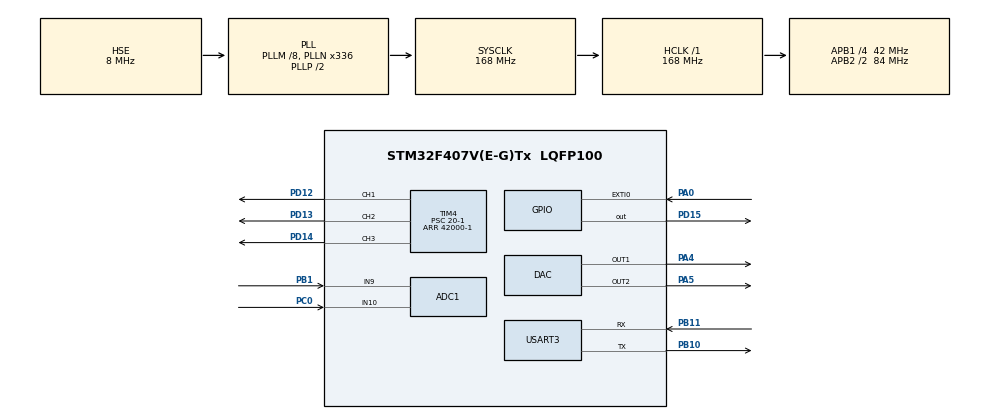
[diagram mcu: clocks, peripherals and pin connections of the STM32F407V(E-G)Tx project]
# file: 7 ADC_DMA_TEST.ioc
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ADC1.Channel-4\#ChannelRegularConversion=ADC_CHANNEL_9
ADC1.Channel-5\#ChannelRegularConversion=ADC_CHANNEL_10
ADC1.ContinuousConvMode=ENABLE
ADC1.DMAContinuousRequests=ENABLE
ADC1.NbrOfConversion=2
ADC1.NbrOfConversionFlag=1
ADC1.Rank-4\#ChannelRegularConversion=1
ADC1.Rank-5\#ChannelRegularConversion=2
ADC1.SamplingTime-4\#ChannelRegularConversion=ADC_SAMPLETIME_84CYCLES
ADC1.SamplingTime-5\#ChannelRegularConversion=ADC_SAMPLETIME_84CYCLES
ADC1.ScanConvMode=ENABLE
ADC1.master=1
Dma.ADC1.0.Direction=DMA_PERIPH_TO_MEMORY
Dma.ADC1.0.FIFOMode=DMA_FIFOMODE_DISABLE
Dma.ADC1.0.Instance=DMA2_Stream0
Dma.ADC1.0.MemDataAlignment=DMA_MDATAALIGN_HALFWORD
Dma.ADC1.0.MemInc=DMA_MINC_ENABLE
Dma.ADC1.0.Mode=DMA_CIRCULAR
Dma.ADC1.0.PeriphDataAlignment=DMA_PDATAALIGN_HALFWORD
Dma.ADC1.0.PeriphInc=DMA_PINC_DISABLE
Dma.ADC1.0.Priority=DMA_PRIORITY_LOW
Dma.Request0=ADC1
Mcu.Family=STM32F4
Mcu.Name=STM32F407V(E-G)Tx
Mcu.Package=LQFP100
NVIC.DMA2_Stream0_IRQn=true\:0\:0\:false\:false\:true\:false
NVIC.EXTI0_IRQn=true\:0\:0\:false\:true\:true\:3\:true
NVIC.PriorityGroup=NVIC_PRIORITYGROUP_4
NVIC.TIM7_IRQn=true\:0\:0\:false\:false\:true\:true
NVIC.USART3_IRQn=true\:0\:0\:false\:true\:true\:1\:true
PA0-WKUP.GPIO_ModeDefaultEXTI=GPIO_MODE_IT_RISING
PA0-WKUP.GPIO_PuPd=GPIO_NOPULL
PA0-WKUP.Signal=GPXTI0
PA4.Signal=COMP_DAC1_group
PA5.Signal=COMP_DAC2_group
PB1.Signal=ADCx_IN9
PB10.Mode=Asynchronous
PB10.Signal=USART3_TX
PB11.Mode=Asynchronous
PB11.Signal=USART3_RX
PC0.Signal=ADCx_IN10
PD12.Signal=S_TIM4_CH1
PD13.Signal=S_TIM4_CH2
PD14.Signal=S_TIM4_CH3
PD15.Signal=GPIO_Output
PH0-OSC_IN.Mode=HSE-External-Oscillator
PH0-OSC_IN.Signal=RCC_OSC_IN
PH1-OSC_OUT.Mode=HSE-External-Oscillator
PH1-OSC_OUT.Signal=RCC_OSC_OUT
ProjectManager.HeapSize=0x200
ProjectManager.StackSize=0x400
ProjectManager.TargetToolchain=TrueSTUDIO
RCC.48MHZClocksFreq_Value=84000000
RCC.AHBFreq_Value=168000000
RCC.APB1CLKDivider=RCC_HCLK_DIV4
RCC.APB1Freq_Value=42000000
RCC.APB1TimFreq_Value=84000000
RCC.APB2CLKDivider=RCC_HCLK_DIV2
RCC.APB2Freq_Value=84000000
RCC.APB2TimFreq_Value=168000000
RCC.CortexFreq_Value=168000000
RCC.HCLKFreq_Value=168000000
RCC.HSE_VALUE=8000000
RCC.HSI_VALUE=16000000
RCC.LSE_VALUE=32768
RCC.PLLM=8
RCC.PLLN=336
RCC.PLLSourceVirtual=RCC_PLLSOURCE_HSE
RCC.SYSCLKFreq_VALUE=168000000
RCC.SYSCLKSource=RCC_SYSCLKSOURCE_PLLCLK
RCC.VCOOutputFreq_Value=336000000
SH.ADCx_IN10.0=ADC1_IN10,IN10
SH.ADCx_IN9.0=ADC1_IN9,IN9
SH.COMP_DAC1_group.0=DAC_OUT1,DAC_OUT1
SH.COMP_DAC2_group.0=DAC_OUT2,DAC_OUT2
SH.S_TIM4_CH1.0=TIM4_CH1,PWM Generation1 CH1
SH.S_TIM4_CH2.0=TIM4_CH2,PWM Generation2 CH2
SH.S_TIM4_CH3.0=TIM4_CH3,PWM Generation3 CH3
TIM4.Channel-PWM\ Generation1\ CH1=TIM_CHANNEL_1
TIM4.Channel-PWM\ Generation2\ CH2=TIM_CHANNEL_2
TIM4.Channel-PWM\ Generation3\ CH3=TIM_CHANNEL_3
TIM4.Period=42000-1
TIM4.Prescaler=20-1
TIM4.Pulse-PWM\ Generation1\ CH1=21000-1
TIM4.Pulse-PWM\ Generation2\ CH2=10500-1
TIM4.Pulse-PWM\ Generation3\ CH3=5250-1
TIM7.Period=8400-1
TIM7.Prescaler=10000-1
USART3.VirtualMode=VM_ASYNC
VP_TIM7_VS_ClockSourceINT.Mode=Enable_Timer
board=custom

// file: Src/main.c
/**
  ******************************************************************************
  * @file           : main.c
  * @brief          : Main program body
  ******************************************************************************
  ** This notice applies to any and all portions of this file
  * that are not between comment pairs USER CODE BEGIN and
  * USER CODE END. Other portions of this file, whether
  * inserted by the user or by software development tools
  * are owned by their respective copyright owners.
  *
  * COPYRIGHT(c) 2019 STMicroelectronics
  *
  * Redistribution and use in source and binary forms, with or without modification,
  * are permitted provided that the following conditions are met:
  *   1. Redistributions of source code must retain the above copyright notice,
  *      this list of conditions and the following disclaimer.
  *   2. Redistributions in binary form must reproduce the above copyright notice,
  *      this list of conditions and the following disclaimer in the documentation
  *      and/or other materials provided with the distribution.
  *   3. Neither the name of STMicroelectronics nor the names of its contributors
  *      may be used to endorse or promote products derived from this software
  *      without specific prior written permission.
  *
  * THIS SOFTWARE IS PROVIDED BY THE COPYRIGHT HOLDERS AND CONTRIBUTORS "AS IS"
  * AND ANY EXPRESS OR IMPLIED WARRANTIES, INCLUDING, BUT NOT LIMITED TO, THE
  * IMPLIED WARRANTIES OF MERCHANTABILITY AND FITNESS FOR A PARTICULAR PURPOSE ARE
  * DISCLAIMED. IN NO EVENT SHALL THE COPYRIGHT HOLDER OR CONTRIBUTORS BE LIABLE
  * FOR ANY DIRECT, INDIRECT, INCIDENTAL, SPECIAL, EXEMPLARY, OR CONSEQUENTIAL
  * DAMAGES (INCLUDING, BUT NOT LIMITED TO, PROCUREMENT OF SUBSTITUTE GOODS OR
  * SERVICES; LOSS OF USE, DATA, OR PROFITS; OR BUSINESS INTERRUPTION) HOWEVER
  * CAUSED AND ON ANY THEORY OF LIABILITY, WHETHER IN CONTRACT, STRICT LIABILITY,
  * OR TORT (INCLUDING NEGLIGENCE OR OTHERWISE) ARISING IN ANY WAY OUT OF THE USE
  * OF THIS SOFTWARE, EVEN IF ADVISED OF THE POSSIBILITY OF SUCH DAMAGE.
  *
  ******************************************************************************
  */
#include "main.h"
#include "stm32f4xx_hal.h"
#include "adc.h"
#include "dac.h"
#include "dma.h"
#include "tim.h"
#include "usart.h"
#include "gpio.h"

/* USER CODE BEGIN Includes */
#include <stdio.h>
#include <math.h>
/* USER CODE END Includes */

/* USER CODE BEGIN PV */
/* Private variables ---------------------------------------------------------*/
uint8_t rx3_data;

/* USER CODE END PV */

void SystemClock_Config(void);
static void MX_NVIC_Init(void);

/* USER CODE BEGIN PFP */
/* Private function prototypes -----------------------------------------------*/
int _write(int file, char* p, int len)
{
  HAL_UART_Transmit(&huart3, p, len, 10);
  return len;
}

/* USER CODE END PFP */

int main(void)
{
  /* USER CODE BEGIN 1 */
  uint16_t adcval[2];
  /* USER CODE END 1 */

  /* MCU Configuration----------------------------------------------------------*/

  /* Reset of all peripherals, Initializes the Flash interface and the Systick. */
  HAL_Init();

  /* Configure the system clock */
  SystemClock_Config();

  /* Initialize all configured peripherals */
  MX_GPIO_Init();
  MX_DMA_Init();
  MX_USART3_UART_Init();
  MX_TIM4_Init();
  MX_DAC_Init();
  MX_TIM7_Init();
  MX_ADC1_Init();

  /* Initialize interrupts */
  MX_NVIC_Init();
  /* USER CODE BEGIN 2 */
  HAL_GPIO_WritePin(GPIOD, GPIO_PIN_12, RESET);
  HAL_GPIO_WritePin(GPIOD, GPIO_PIN_13, RESET);
  HAL_GPIO_WritePin(GPIOD, GPIO_PIN_14, RESET);
  HAL_GPIO_WritePin(GPIOD, GPIO_PIN_15, RESET);

  HAL_UART_Receive_IT(&huart3, &rx3_data, 1);

  HAL_TIM_Base_Start_IT(&htim7);

  HAL_TIM_PWM_Start(&htim4, TIM_CHANNEL_1);
  HAL_TIM_PWM_Start(&htim4, TIM_CHANNEL_2);
  HAL_TIM_PWM_Start(&htim4, TIM_CHANNEL_3);

  HAL_DAC_Start(&hdac, DAC_CHANNEL_1);
  HAL_DAC_Start(&hdac, DAC_CHANNEL_2);

  HAL_ADC_Start_DMA(&hadc1, &adcval[0], 2);
  /* USER CODE END 2 */

  /* Infinite loop */
  /* USER CODE BEGIN WHILE */
  uint16_t ccr = 0;
  uint16_t dac_value = 0;
  while (1)
  {
    printf("%4d   %4d\n", adcval[0], adcval[1]);
    HAL_Delay(100);
  /* USER CODE END WHILE */

  }

}

void SystemClock_Config(void)
{

  RCC_OscInitTypeDef RCC_OscInitStruct;
  RCC_ClkInitTypeDef RCC_ClkInitStruct;

    /**Configure the main internal regulator output voltage
    */
  __HAL_RCC_PWR_CLK_ENABLE();

  __HAL_PWR_VOLTAGESCALING_CONFIG(PWR_REGULATOR_VOLTAGE_SCALE1);

    /**Initializes the CPU, AHB and APB busses clocks
    */
  RCC_OscInitStruct.OscillatorType = RCC_OSCILLATORTYPE_HSE;
  RCC_OscInitStruct.HSEState = RCC_HSE_ON;
  RCC_OscInitStruct.PLL.PLLState = RCC_PLL_ON;
  RCC_OscInitStruct.PLL.PLLSource = RCC_PLLSOURCE_HSE;
  RCC_OscInitStruct.PLL.PLLM = 8;
  RCC_OscInitStruct.PLL.PLLN = 336;
  RCC_OscInitStruct.PLL.PLLP = RCC_PLLP_DIV2;
  RCC_OscInitStruct.PLL.PLLQ = 4;
  if (HAL_RCC_OscConfig(&RCC_OscInitStruct) != HAL_OK)
  {
    _Error_Handler(__FILE__, __LINE__);
  }

    /**Initializes the CPU, AHB and APB busses clocks
    */
  RCC_ClkInitStruct.ClockType = RCC_CLOCKTYPE_HCLK|RCC_CLOCKTYPE_SYSCLK
                              |RCC_CLOCKTYPE_PCLK1|RCC_CLOCKTYPE_PCLK2;
  RCC_ClkInitStruct.SYSCLKSource = RCC_SYSCLKSOURCE_PLLCLK;
  RCC_ClkInitStruct.AHBCLKDivider = RCC_SYSCLK_DIV1;
  RCC_ClkInitStruct.APB1CLKDivider = RCC_HCLK_DIV4;
  RCC_ClkInitStruct.APB2CLKDivider = RCC_HCLK_DIV2;

  if (HAL_RCC_ClockConfig(&RCC_ClkInitStruct, FLASH_LATENCY_5) != HAL_OK)
  {
    _Error_Handler(__FILE__, __LINE__);
  }

    /**Configure the Systick interrupt time
    */
  HAL_SYSTICK_Config(HAL_RCC_GetHCLKFreq()/1000);

    /**Configure the Systick
    */
  HAL_SYSTICK_CLKSourceConfig(SYSTICK_CLKSOURCE_HCLK);

  /* SysTick_IRQn interrupt configuration */
  HAL_NVIC_SetPriority(SysTick_IRQn, 0, 0);
}

/**
  * @brief NVIC Configuration.
  * @retval None
  */
static void MX_NVIC_Init(void)
{
  /* USART3_IRQn interrupt configuration */
  HAL_NVIC_SetPriority(USART3_IRQn, 0, 0);
  HAL_NVIC_EnableIRQ(USART3_IRQn);
  /* EXTI0_IRQn interrupt configuration */
  HAL_NVIC_SetPriority(EXTI0_IRQn, 0, 0);
  HAL_NVIC_EnableIRQ(EXTI0_IRQn);
}

/* USER CODE BEGIN 4 */
void HAL_UART_RxCpltCallback(UART_HandleTypeDef *huart)
{
  if(huart->Instance == USART3)
  {
    HAL_UART_Receive_IT(&huart3, &rx3_data, 1);
    HAL_UART_Transmit(&huart3, &rx3_data, 1, 10);
  }
}

void HAL_TIM_PeriodElapsedCallback(TIM_HandleTypeDef *htim)
{
  static uint8_t cnt = 0;
  if(htim->Instance == TIM7)
  {
    HAL_DAC_SetValue(&hdac, DAC_CHANNEL_1, DAC_ALIGN_12B_R, (sinf(2*3.1415926535f*100*cnt/1000.f) + 1) * 2047);
    cnt++;
    if(cnt > 999)
    {
      cnt = 0;
    }
  }
}

void HAL_GPIO_EXTI_Callback(uint16_t GPIO_Pin)
{
  if(GPIO_Pin == GPIO_PIN_0)
  {
    HAL_GPIO_TogglePin(GPIOD, GPIO_PIN_13);
  }
}
/* USER CODE END 4 */

void _Error_Handler(char *file, int line)
{
  while(1)
  {
  }
}

/************************ (C) COPYRIGHT STMicroelectronics *****END OF FILE****/
